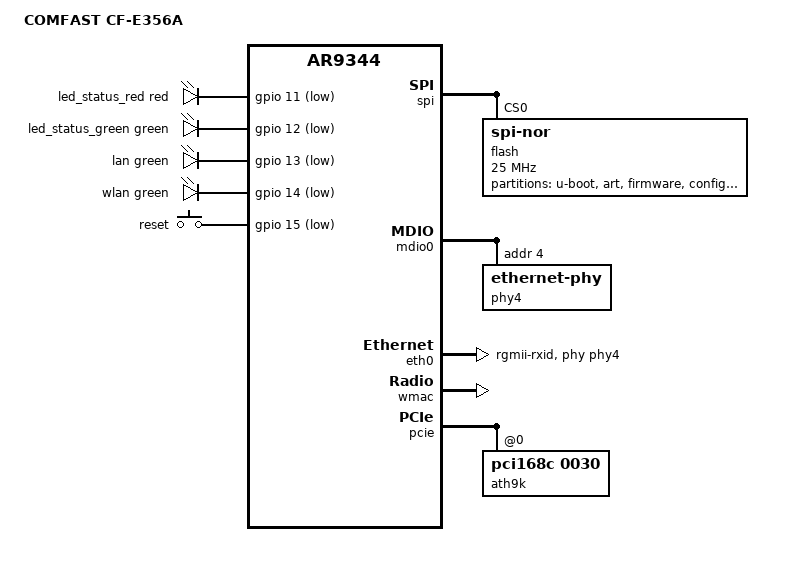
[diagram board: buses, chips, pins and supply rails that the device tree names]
// SPDX-License-Identifier: GPL-2.0-or-later OR MIT

#include "ar9344.dtsi"

#include <dt-bindings/gpio/gpio.h>
#include <dt-bindings/input/input.h>
#include <dt-bindings/leds/common.h>

/ {
	compatible = "comfast,cf-e356a", "qca,ar9344";
	model = "COMFAST CF-E356A";

	aliases {
		led-boot = &led_status_green;
		led-failsafe = &led_status_red;
		led-running = &led_status_green;
		led-upgrade = &led_status_red;
		label-mac-device = &eth0;
	};

	leds {
		compatible = "gpio-leds";

		led_status_red: status-red {
			function = LED_FUNCTION_STATUS;
			color = <LED_COLOR_ID_RED>;
			gpios = <&gpio 11 GPIO_ACTIVE_LOW>;
		};

		led_status_green: status-green {
			function = LED_FUNCTION_STATUS;
			color = <LED_COLOR_ID_GREEN>;
			gpios = <&gpio 12 GPIO_ACTIVE_LOW>;
			default-state = "on";
		};

		lan {
			function = LED_FUNCTION_LAN;
			color = <LED_COLOR_ID_GREEN>;
			gpios = <&gpio 13 GPIO_ACTIVE_LOW>;
		};

		wlan {
			function = LED_FUNCTION_WLAN;
			color = <LED_COLOR_ID_GREEN>;
			gpios = <&gpio 14 GPIO_ACTIVE_LOW>;
			linux,default-trigger = "phy0tpt";
		};
	};

	keys {
		compatible = "gpio-keys";

		reset {
			label = "reset";
			linux,code = <KEY_RESTART>;
			gpios = <&gpio 15 GPIO_ACTIVE_LOW>;
			debounce-interval = <60>;
		};
	};
};

&spi {
	status = "okay";

	flash@0 {
		compatible = "jedec,spi-nor";
		reg = <0>;
		spi-max-frequency = <25000000>;

		partitions {
			compatible = "fixed-partitions";
			#address-cells = <1>;
			#size-cells = <1>;

			partition@0 {
				label = "u-boot";
				reg = <0x000000 0x010000>;
				read-only;
			};

			partition@10000 {
				label = "art";
				reg = <0x010000 0x010000>;
				read-only;

				nvmem-layout {
					compatible = "fixed-layout";
					#address-cells = <1>;
					#size-cells = <1>;

					macaddr_art_0: macaddr@0 {
						compatible = "mac-base";
						reg = <0x0 0x6>;
						#nvmem-cell-cells = <1>;
					};

					cal_art_1000: calibration@1000 {
						reg = <0x1000 0x440>;
					};

					cal_art_5000: calibration@5000 {
						reg = <0x5000 0x440>;
					};
				};
			};

			partition@20000 {
				compatible = "denx,uimage";
				label = "firmware";
				reg = <0x020000 0xfc0000>;
			};

			partition@fe0000 {
				label = "configs";
				reg = <0xfe0000 0x010000>;
				read-only;
			};

			partition@ff0000 {
				label = "nvram";
				reg = <0xff0000 0x010000>;
				read-only;
			};
		};
	};
};

&mdio0 {
	status = "okay";

	phy4: ethernet-phy@4 {
		reg = <4>;
	};
};

&eth0 {
	status = "okay";

	pll-data = <0x06000000 0x00000101 0x00001313>;

	nvmem-cells = <&macaddr_art_0 0>;
	nvmem-cell-names = "mac-address";

	phy-mode = "rgmii-rxid";
	phy-handle = <&phy4>;

	gmac-config {
		device = <&gmac>;
		rgmii-gmac0 = <1>;
	};
};

&wmac {
	status = "okay";

	nvmem-cells = <&macaddr_art_0 2>, <&cal_art_1000>;
	nvmem-cell-names = "mac-address", "calibration";
};

&pcie {
	status = "okay";

	ath9k: wifi@0,0 {
		compatible = "pci168c,0030";
		reg = <0x0000 0 0 0 0>;
		nvmem-cells = <&macaddr_art_0 10>, <&cal_art_5000>;
		nvmem-cell-names = "mac-address", "calibration";
	};
};
